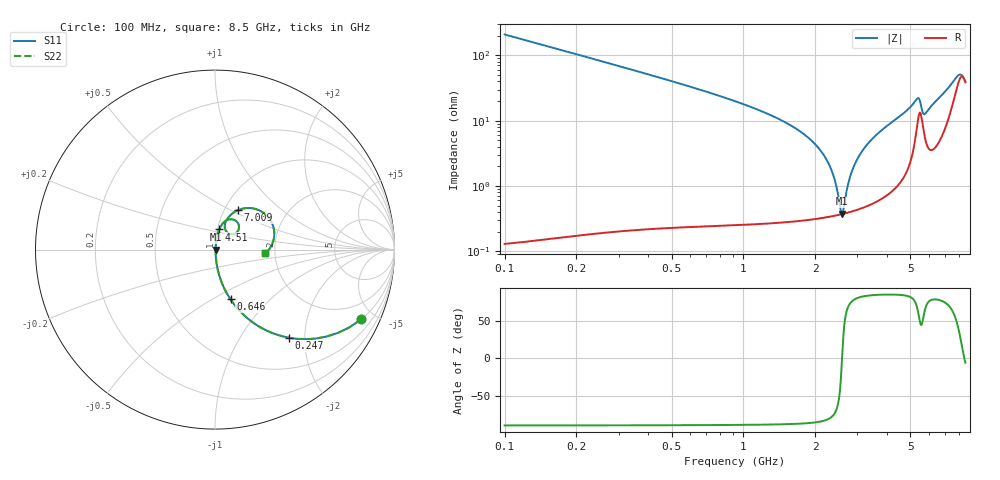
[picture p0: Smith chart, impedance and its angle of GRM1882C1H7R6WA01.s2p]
!Murata Part Number: GRM1882C1H7R6WA01
!These Parameters are Measured in Series Mode Connection
!Data Generated on Mar 30, 2021
!  o--ll--o
!Port1  Port2
!  o------o
!Operation Temp=25[degC], DC Bias Voltage=0[V]
!Freq. Start=100[MHz] Stop=9[GHz] 401[Steps]
# Hz S RI R 50
!Freq.(Hz) S11(Real) S11(Imag) S21(Real) S21(Imag) S12(Real) S12(Imag) S22(Real) S22(Imag)
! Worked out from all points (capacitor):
!   401 points, 100 MHz to 8.5 GHz, reference 50 ohm
!   read as one part in series: C = 7.6 pF near 142 MHz
!   lowest |Z| = 375 mohm at 2.578 GHz (marker M1)
!   series resonance near 2.588 GHz, so ESL is about 500 pH
!   S11 on the Smith chart (normalised r, x): 100 MHz: 1.00, -4.18; 247 MHz: 1.00, -1.68; 646 MHz: 1.00, -0.61; 4.51 GHz: 1.02, +0.23; 7.009 GHz: 1.16, +0.54; 8.5 GHz: 1.77, -0.08
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1e8  0.8136 -0.3891  0.1864 0.3891  0.1864 0.3891  0.8136 -0.3891
2.47e8  0.4137 -0.4914  0.5863 0.4914  0.5863 0.4914  0.4137 -0.4914
4.15e8  0.1957 -0.3945  0.8043 0.3945  0.8043 0.3945  0.1957 -0.3945
6.46e8  0.0866 -0.2773  0.9134 0.2773  0.9134 0.2773  0.0866 -0.2773
1.507e9  0.0113 -0.0917  0.9887 0.0917  0.9887 0.0917  0.0113 -0.0917
1.927e9  0.00547 -0.0491  0.9945 0.0491  0.9945 0.0491  0.00547 -0.0491
2.221e9  0.00394 -0.0254  0.9961 0.0254  0.9961 0.0254  0.00394 -0.0254
2.389e9  0.00364 -0.0134  0.9964 0.0134  0.9964 0.0134  0.00364 -0.0134
2.578e9  0.00368 -0.000656  0.9963 0.000656  0.9963 0.000656  0.00368 -0.000656
2.62e9  0.00373 0.00206  0.9963 -0.00206  0.9963 -0.00206  0.00373 0.00206
2.767e9  0.00406 0.0113  0.9959 -0.0113  0.9959 -0.0113  0.00406 0.0113
2.914e9  0.00456 0.0202  0.9954 -0.0202  0.9954 -0.0202  0.00456 0.0202
3.124e9  0.00558 0.0325  0.9944 -0.0325  0.9944 -0.0325  0.00558 0.0325
3.418e9  0.0076 0.0491  0.9924 -0.0491  0.9924 -0.0491  0.0076 0.0491
4.3e9  0.0189 0.099  0.9811 -0.099  0.9811 -0.099  0.0189 0.099
4.51e9  0.0237 0.1121  0.9763 -0.1121  0.9763 -0.1121  0.0237 0.1121
5.35e9  0.1111 0.1636  0.8889 -0.1636  0.8889 -0.1636  0.1111 0.1636
5.707e9  0.0697 0.0946  0.9303 -0.0946  0.9303 -0.0946  0.0697 0.0946
7.009e9  0.1277 0.2197  0.8723 -0.2197  0.8723 -0.2197  0.1277 0.2197
7.114e9  0.1425 0.2252  0.8575 -0.2252  0.8575 -0.2252  0.1425 0.2252
7.933e9  0.3103 0.1613  0.6897 -0.1613  0.6897 -0.1613  0.3103 0.1613
8.5e9  0.2799 -0.0215  0.7201 0.0215  0.7201 0.0215  0.2799 -0.0215
